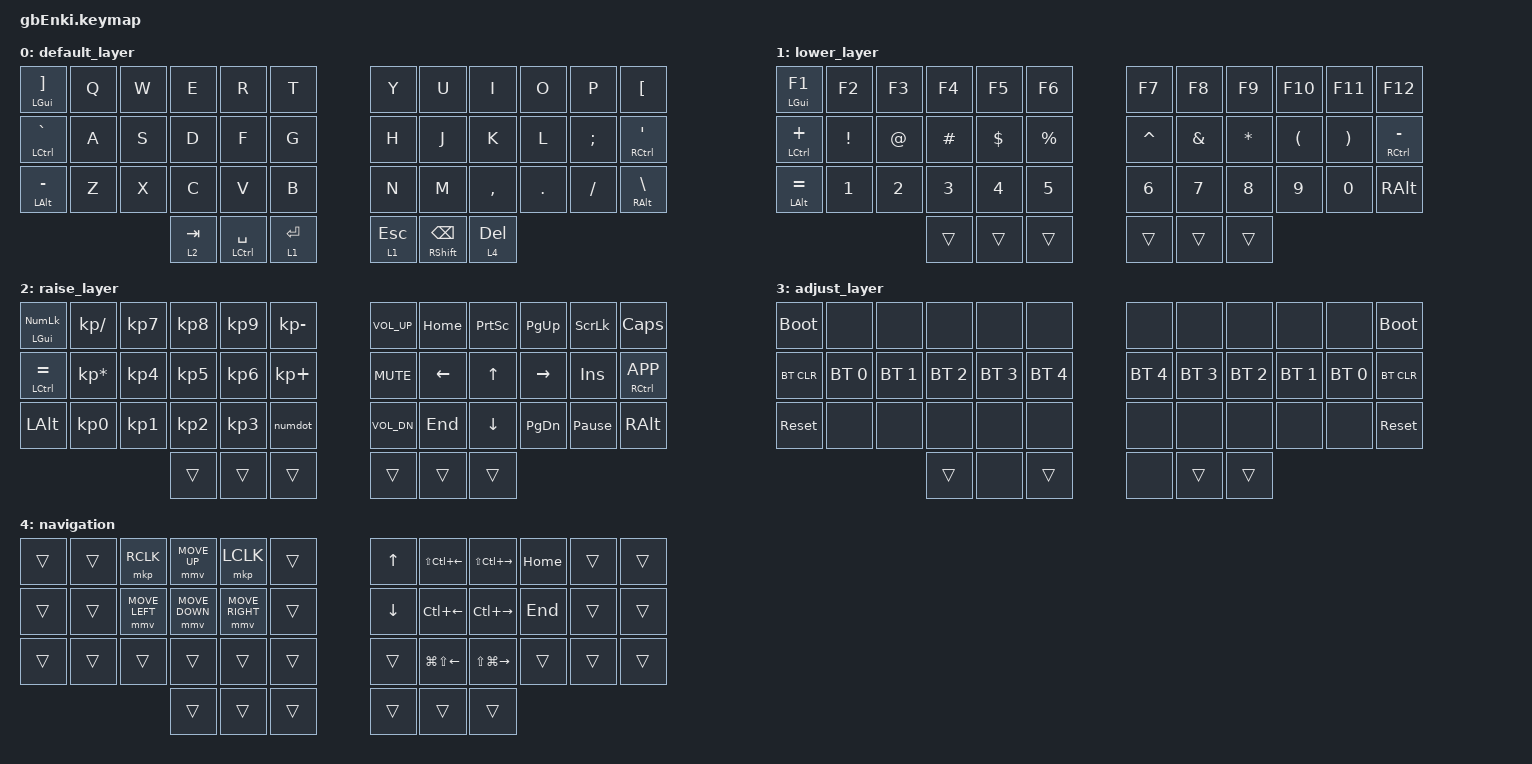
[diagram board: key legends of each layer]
/*
 * Copyright (c) 2020 The ZMK Contributors
 *
 * SPDX-License-Identifier: MIT
 */

#include <behaviors.dtsi>
#include <dt-bindings/zmk/bt.h>
#include <dt-bindings/zmk/keys.h>
#include <dt-bindings/zmk/pointing.h>
#include <dt-bindings/zmk/ext_power.h>

#define DEF 0
#define LWR 1
#define RSE 2
#define ADJ 3

&lt { quick-tap-ms = <200>; };

&mt { quick-tap-ms = <200>; };
/ {
    macros {
        numdot: numdot {
            label = "ZM_numdot";
            compatible = "zmk,behavior-macro";
            #binding-cells = <0>;
            wait-ms = <40>;
            tap-ms = <40>;
            bindings
                = <&macro_press   &kp LALT>    
                , <&macro_tap     &kp KP_N4 &kp KP_N6>    
                , <&macro_release &kp LALT>
                ;
        };
        grtsgn: grtsgn {
            label = "ZM_grtsgn";
            compatible = "zmk,behavior-macro";
            #binding-cells = <0>;
            wait-ms = <40>;
            tap-ms = <40>;
            bindings
                = <&macro_press   &kp LALT>    
                , <&macro_tap     &kp KP_N6 &kp KP_N2>    
                , <&macro_release &kp LALT>
                ;
        };
    };
};

/ {
    conditional_layers {
        compatible = "zmk,conditional-layers";

        tri-layer {
            if-layers = <1 2>;
            then-layer = <3>;
        };

        tri-layer1 {
            if-layers = <4 1>;
            then-layer = <3>;
        };
    };

    keymap {
        compatible = "zmk,keymap";

        default_layer {
            bindings = <
&mt LGUI RBKT    &kp Q  &kp W  &kp E      &kp R            &kp T        &kp Y      &kp U           &kp I      &kp O    &kp P     &kp LBKT
&mt LCTRL GRAVE  &kp A  &kp S  &kp D      &kp F            &kp G        &kp H      &kp J           &kp K      &kp L    &kp SEMI  &mt RCTRL SQT
&mt LALT MINUS   &kp Z  &kp X  &kp C      &kp V            &kp B        &kp N      &kp M           &kp COMMA  &kp DOT  &kp FSLH  &mt RALT BSLH
                               &lt 2 TAB  &mt LCTRL SPACE  &lt 1 RET    &lt 1 ESC  &mt RSHFT BSPC  &lt 4 DEL
            >;
        };

        lower_layer {
            bindings = <
&mt LGUI F1     &kp F2    &kp F3  &kp F4    &kp F5    &kp F6       &kp F7     &kp F8    &kp F9    &kp F10   &kp F11   &kp F12
&mt LCTRL PLUS  &kp EXCL  &kp AT  &kp HASH  &kp DLLR  &kp PRCNT    &kp CARET  &kp AMPS  &kp STAR  &kp LPAR  &kp RPAR  &mt RCTRL MINUS
&mt LALT EQUAL  &kp N1    &kp N2  &kp N3    &kp N4    &kp N5       &kp N6     &kp N7    &kp N8    &kp N9    &kp N0    &kp RALT
                                  &trans    &trans    &trans       &trans     &trans    &trans
            >;
        };

        raise_layer {
            bindings = <
&mt LGUI KP_NUM  &kp KP_SLASH     &kp KP_N7  &kp KP_N8  &kp KP_N9  &kp KP_MINUS    &kp C_VOL_UP  &kp HOME  &kp PSCRN  &kp PG_UP  &kp SLCK         &kp CLCK
&mt LCTRL EQUAL  &kp KP_MULTIPLY  &kp KP_N4  &kp KP_N5  &kp KP_N6  &kp KP_PLUS     &kp C_MUTE    &kp LEFT  &kp UP     &kp RIGHT  &kp INS          &mt RCTRL K_APP
&kp LALT         &kp KP_N0        &kp KP_N1  &kp KP_N2  &kp KP_N3  &numdot        &kp C_VOL_DN  &kp END   &kp DOWN   &kp PG_DN  &kp PAUSE_BREAK  &kp RALT
                                             &trans     &trans     &trans          &trans        &trans    &trans
            >;
        };

        adjust_layer {
            bindings = <
&bootloader  &none         &none         &none         &none         &none           &none         &none         &none         &none         &none         &bootloader
&bt BT_CLR   &bt BT_SEL 0  &bt BT_SEL 1  &bt BT_SEL 2  &bt BT_SEL 3  &bt BT_SEL 4    &bt BT_SEL 4  &bt BT_SEL 3  &bt BT_SEL 2  &bt BT_SEL 1  &bt BT_SEL 0  &bt BT_CLR
&sys_reset   &none         &none         &none         &none         &none           &none         &none         &none         &none         &none         &sys_reset
                                         &trans        &none         &trans          &none         &trans        &trans
            >;
        };

        navigation {
            bindings = <
&trans  &trans  &mkp RCLK       &mmv MOVE_UP    &mkp LCLK        &trans    &kp UP    &kp LS(LC(LEFT_ARROW))  &kp LS(LC(RIGHT))  &kp HOME  &trans  &trans
&trans  &trans  &mmv MOVE_LEFT  &mmv MOVE_DOWN  &mmv MOVE_RIGHT  &trans    &kp DOWN  &kp LC(LEFT)            &kp LC(RIGHT)      &kp END   &trans  &trans
&trans  &trans  &trans          &trans          &trans           &trans    &trans    &kp LG(LS(LEFT))        &kp LS(LG(RIGHT))  &trans    &trans  &trans
                                &trans          &trans           &trans    &trans    &trans                  &trans
            >;
        };
    };
};
